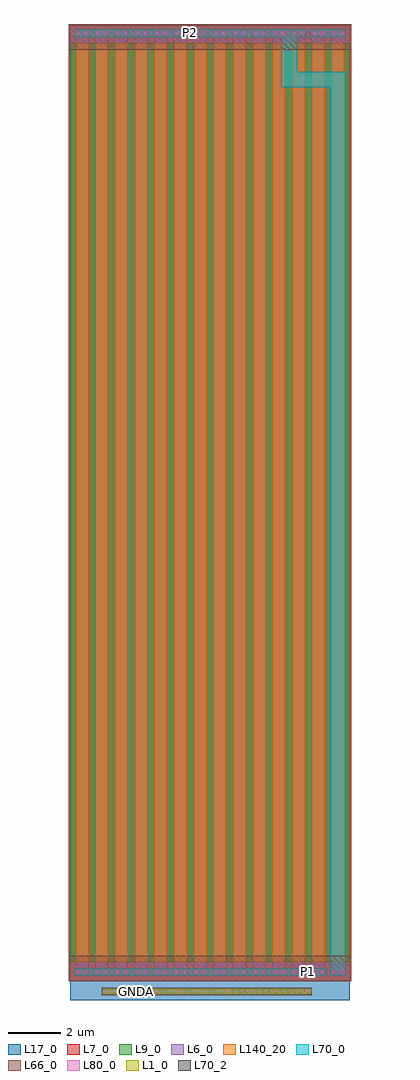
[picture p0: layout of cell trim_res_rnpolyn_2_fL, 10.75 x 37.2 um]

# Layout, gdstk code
import gdstk
lib = gdstk.Library(unit=1e-6, precision=1e-09)
def R(c, l, rs):  # rectangles x0, y0, x1, y1
    for r in rs: c.add(gdstk.rectangle(r[:2], r[2:], *l))
def A(c, l, x, y, w, h, nx, ny, dx, dy):  # array of equal rectangles
    R(c, l, [(x+i*dx, y+j*dy, x+i*dx+w, y+j*dy+h) for i in range(nx) for j in range(ny)])
L1_0 = (1, 0)
L6_0 = (6, 0)
L7_0 = (7, 0)
L9_0 = (9, 0)
L17_0 = (17, 0)
L66_0 = (66, 0)
L70_0 = (70, 0)
L70_2 = (70, 2)
L80_0 = (80, 0)
L140_20 = (140, 20)

contact_cdns_78300107489 = lib.new_cell('Contact_CDNS_783001074891')
R(contact_cdns_78300107489, L6_0, [(-0.02,-0.02,0.58,0.28)])
R(contact_cdns_78300107489, L70_0, [(-0.02,-0.02,0.58,0.28)])
R(contact_cdns_78300107489, L80_0, [(0.06,0.06,0.2,0.2), (0.36,0.06,0.5,0.2)])

rnpolym_cdns_78300107489 = lib.new_cell('rnpolym_CDNS_783001074890')
A(rnpolym_cdns_78300107489, L6_0, 0, -0.24, 0.5, 0.24, 12, 2, 0.75, 35.24)
A(rnpolym_cdns_78300107489, L6_0, 0, 0, 0.5, 35, 12, 1, 0.75, 0)
R(rnpolym_cdns_78300107489, L7_0, [(-0.25,-0.74,9,35.74)])
R(rnpolym_cdns_78300107489, L9_0, [(-0.2,0,8.95,35)])
R(rnpolym_cdns_78300107489, L17_0, [(-0.21,-0.7,8.96,35.7)])
R(rnpolym_cdns_78300107489, L66_0, [(-0.25,-0.74,9,0.24), (-0.25,34.76,9,35.74)])
A(rnpolym_cdns_78300107489, L70_0, -0.05, -0.54, 0.6, 0.3, 12, 2, 0.75, 35.78)
R(rnpolym_cdns_78300107489, L70_0, [(-0.05,-0.54,8.8,-0.24), (-0.05,35.24,8.8,35.54)])
A(rnpolym_cdns_78300107489, L140_20, 0, 0, 0.5, 35, 12, 1, 0.75, 0)
rnpolym_cdns_78300107489.add(gdstk.Reference(contact_cdns_78300107489, (8.22,35.26)))
rnpolym_cdns_78300107489.add(gdstk.Reference(contact_cdns_78300107489, (8.22,-0.52)))
rnpolym_cdns_78300107489.add(gdstk.Reference(contact_cdns_78300107489, (7.47,35.26)))
rnpolym_cdns_78300107489.add(gdstk.Reference(contact_cdns_78300107489, (7.47,-0.52)))
rnpolym_cdns_78300107489.add(gdstk.Reference(contact_cdns_78300107489, (6.72,35.26)))
rnpolym_cdns_78300107489.add(gdstk.Reference(contact_cdns_78300107489, (6.72,-0.52)))
rnpolym_cdns_78300107489.add(gdstk.Reference(contact_cdns_78300107489, (5.97,35.26)))
rnpolym_cdns_78300107489.add(gdstk.Reference(contact_cdns_78300107489, (5.97,-0.52)))
rnpolym_cdns_78300107489.add(gdstk.Reference(contact_cdns_78300107489, (5.22,35.26)))
rnpolym_cdns_78300107489.add(gdstk.Reference(contact_cdns_78300107489, (5.22,-0.52)))
rnpolym_cdns_78300107489.add(gdstk.Reference(contact_cdns_78300107489, (4.47,35.26)))
rnpolym_cdns_78300107489.add(gdstk.Reference(contact_cdns_78300107489, (4.47,-0.52)))
rnpolym_cdns_78300107489.add(gdstk.Reference(contact_cdns_78300107489, (3.72,35.26)))
rnpolym_cdns_78300107489.add(gdstk.Reference(contact_cdns_78300107489, (3.72,-0.52)))
rnpolym_cdns_78300107489.add(gdstk.Reference(contact_cdns_78300107489, (2.97,35.26)))
rnpolym_cdns_78300107489.add(gdstk.Reference(contact_cdns_78300107489, (2.97,-0.52)))
rnpolym_cdns_78300107489.add(gdstk.Reference(contact_cdns_78300107489, (2.22,35.26)))
rnpolym_cdns_78300107489.add(gdstk.Reference(contact_cdns_78300107489, (2.22,-0.52)))
rnpolym_cdns_78300107489.add(gdstk.Reference(contact_cdns_78300107489, (1.47,35.26)))
rnpolym_cdns_78300107489.add(gdstk.Reference(contact_cdns_78300107489, (1.47,-0.52)))
rnpolym_cdns_78300107489.add(gdstk.Reference(contact_cdns_78300107489, (0.72,35.26)))
rnpolym_cdns_78300107489.add(gdstk.Reference(contact_cdns_78300107489, (0.72,-0.52)))
rnpolym_cdns_78300107489.add(gdstk.Reference(contact_cdns_78300107489, (-0.03,35.26)))
rnpolym_cdns_78300107489.add(gdstk.Reference(contact_cdns_78300107489, (-0.03,-0.52)))

c_rnpolym_cdns_78300107489 = lib.new_cell('rnpolym_CDNS_783001074892')
R(c_rnpolym_cdns_78300107489, L6_0, [(0,-0.24,0.5,0), (0,0,0.5,35), (0,35,0.5,35.24)])
R(c_rnpolym_cdns_78300107489, L7_0, [(-0.25,-0.74,0.75,35.74)])
R(c_rnpolym_cdns_78300107489, L9_0, [(-0.2,0,0.7,35)])
R(c_rnpolym_cdns_78300107489, L17_0, [(-0.21,-0.7,0.71,35.7)])
R(c_rnpolym_cdns_78300107489, L66_0, [(-0.25,-0.74,0.75,0.24), (-0.25,34.76,0.75,35.74)])
R(c_rnpolym_cdns_78300107489, L70_0, [(-0.05,-0.54,0.55,-0.24), (-0.05,-0.54,0.55,-0.24), (-0.05,35.24,0.55,35.54), (-0.05,35.24,0.55,35.54)])
R(c_rnpolym_cdns_78300107489, L140_20, [(0,0,0.5,35)])
c_rnpolym_cdns_78300107489.add(gdstk.Reference(contact_cdns_78300107489, (-0.03,35.26)))
c_rnpolym_cdns_78300107489.add(gdstk.Reference(contact_cdns_78300107489, (-0.03,-0.52)))

trim_res_rnpolyn_2_fl = lib.new_cell('trim_res_rnpolyn_2_fL')
R(trim_res_rnpolyn_2_fl, L17_0, [(0.045,-0.71,10.715,0.145), (1.16,-0.605,1.53,0.045), (9.065,-0.605,9.35,0.045)])
R(trim_res_rnpolyn_2_fl, L66_0, [(1.26,-0.535,1.35,-0.235), (9.065,-0.535,9.25,-0.235)])
R(trim_res_rnpolyn_2_fl, L70_0, [(8.605,0.205,9.575,0.505), (9.495,35.985,10.185,36.285)])
R(trim_res_rnpolyn_2_fl, L70_2, [(2.515,-0.46,2.665,-0.31), (9.055,0.285,9.205,0.435), (4.555,36.08,4.705,36.23)])
A(trim_res_rnpolyn_2_fl, L80_0, 1.4, -0.455, 0.14, 0.14, 15, 1, 0.305, 0)
A(trim_res_rnpolyn_2_fl, L80_0, 5.97, -0.455, 0.14, 0.14, 11, 1, 0.3, 0)
trim_res_rnpolyn_2_fl.add(gdstk.FlexPath([(1.32,-0.385),(9.19,-0.385)], 0.65, ends="flush", simple_path=True, layer=17, datatype=0))  # L17_0
trim_res_rnpolyn_2_fl.add(gdstk.FlexPath([(1.32,-0.385),(9.19,-0.385)], 0.3, ends="flush", simple_path=True, layer=66, datatype=0))  # L66_0
trim_res_rnpolyn_2_fl.add(gdstk.FlexPath([(1.32,-0.385),(9.19,-0.385)], 0.29, ends="flush", simple_path=True, layer=70, datatype=0))  # L70_0
trim_res_rnpolyn_2_fl.add(gdstk.FlexPath([(10.255,34.37),(8.4,34.37)], 0.6, ends="extended", simple_path=True, layer=70, datatype=0))  # L70_0
trim_res_rnpolyn_2_fl.add(gdstk.FlexPath([(10.255,0.205),(10.255,34.37)], 0.6, ends=(0, 0.3), simple_path=True, layer=70, datatype=0))  # L70_0
trim_res_rnpolyn_2_fl.add(gdstk.FlexPath([(8.4,34.37),(8.4,36.285)], 0.6, ends=(0.3, 0), simple_path=True, layer=70, datatype=0))  # L70_0
trim_res_rnpolyn_2_fl.add(gdstk.FlexPath([(1.32,-0.385),(9.19,-0.385)], 0.18, ends="flush", simple_path=True, layer=1, datatype=0))  # L1_0
trim_res_rnpolyn_2_fl.add(gdstk.Reference(rnpolym_cdns_78300107489, (0.255,0.745)))
trim_res_rnpolyn_2_fl.add(gdstk.Reference(c_rnpolym_cdns_78300107489, (9.255,0.745)))
trim_res_rnpolyn_2_fl.add(gdstk.Reference(c_rnpolym_cdns_78300107489, (10.005,35.745), x_reflection=True))
trim_res_rnpolyn_2_fl.add(gdstk.Label('GNDA', (2.59,-0.385), layer=70, texttype=2))
trim_res_rnpolyn_2_fl.add(gdstk.Label('P2', (4.63,36.155), layer=70, texttype=2))
trim_res_rnpolyn_2_fl.add(gdstk.Label('P1', (9.13,0.36), layer=70, texttype=2))

lib.write_gds('trim_res_rnpolyn_2_fL.gds')
